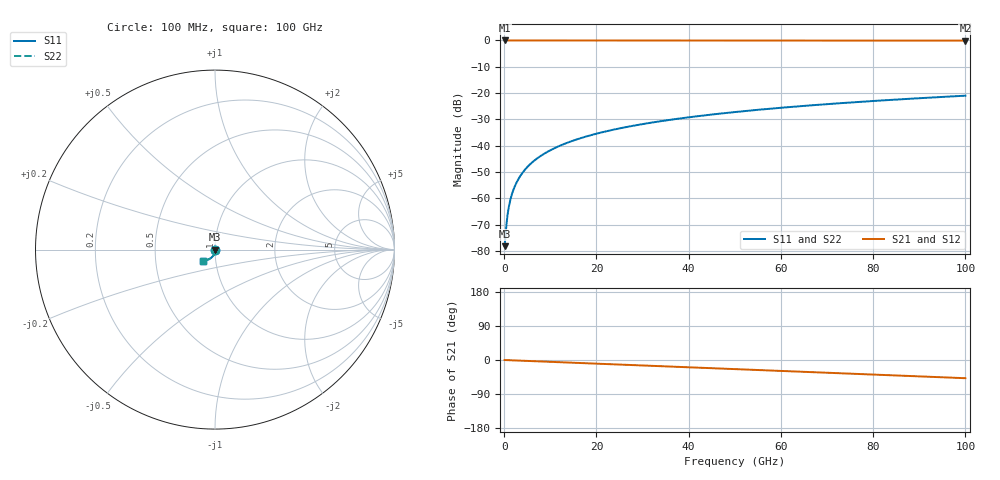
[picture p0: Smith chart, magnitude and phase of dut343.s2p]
! Touchstone file exported from HFSS 2026.1.0
!  File:  C:/ffzhzh/LocalFiles/Ansys_Project_Files/temp_train_TSV_343_1783509898_9504.aedt
!  Generated:  07:26:09 PM Jul  8, 2026
!  Design:  TSV
!  Project:  temp_train_TSV_343_1783509898_9504
! Variables:
!  h_bsmrdl = 2um
!  h_ox = 20um
!  h_rdl = 5um
!  h_sub = 99.54um
!  h_tmrdl = 5um
!  h_tsv = 99.54um
!  h_via = 3um
!  l_bsmrdl = 300um
!  l_sub = 423.56um
!  l_tmrdl = 200um
!  m_sub = 200um
!  pitch = 43.11um
!  r_tsv = 11.78um
!  s_tmrdl = 10um
!  w_bsmrdl = 18um
!  w_sub = 500um
!  w_tmrdl = 12um
!  x_tsv_center1 = 206um
!  x_tsv_center2 = 524um
!  x_tsv_center3 = 736um
!  x_tsv_center4 = 1054um
!  x_tsv_center5 = 1266um
!  x_tsv_center6 = 1584um
# GHz S MA R 50.000000
! Terminal data exported
! Port[1] = TSV1_1_T1
! Port[2] = TSV1_1_T2
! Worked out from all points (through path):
!   1000 points, 100 MHz to 100 GHz, reference 50 ohm
!   highest |S21| = 0.00 dB at 100 MHz (marker M1); lowest = -0.1 dB at 100 GHz (marker M2)
!   group delay of S21, straight-line fit = 1.33 ps
!   lowest |S11| = -78.1 dB at 100 MHz (marker M3), VSWR 1.00, Z = 50 - j0.00326 ohm
!   |S11| at or under -10 dB: start of sweep to end of sweep
!   |S22| runs from -78.1 to -21.0 dB; largest |S21 - S12| = 3.6e-15
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0.1  0.0001238 -15.2  0.9999 -0.1  0.9999 -0.1  0.0001238 -15.2
! Gamma 0 0 0 0
! Port Impedance 50 0 50 0
0.4  0.000255 -42.6  0.9998 -0.2  0.9998 -0.2  0.000255 -42.6
0.8  0.0005296 -58.2  0.9997 -0.4  0.9997 -0.4  0.0005296 -58.2
1  0.0006783 -62.7  0.9997 -0.5  0.9997 -0.5  0.0006783 -62.7
1.3  0.0009059 -67.3  0.9996 -0.6  0.9996 -0.6  0.0009059 -67.3
1.6  0.001137 -70.5  0.9996 -0.8  0.9996 -0.8  0.001137 -70.5
2.1  0.001529 -73.9  0.9995 -1.0  0.9995 -1.0  0.001529 -73.9
2.6  0.001929 -76.2  0.9995 -1.3  0.9995 -1.3  0.001929 -76.2
3.3  0.002501 -78.5  0.9994 -1.6  0.9994 -1.6  0.002501 -78.5
4.1  0.003166 -80.4  0.9994 -2.0  0.9994 -2.0  0.003166 -80.4
5.1  0.004007 -82.3  0.9993 -2.5  0.9993 -2.5  0.004007 -82.3
6.2  0.004939 -83.9  0.9992 -3.0  0.9992 -3.0  0.004939 -83.9
9  0.007335 -87.0  0.999 -4.3  0.999 -4.3  0.007335 -87.0
12.5  0.01037 -89.8  0.9988 -6.0  0.9988 -6.0  0.01037 -89.8
16.8  0.01413 -92.8  0.9986 -8.1  0.9986 -8.1  0.01413 -92.8
24.1  0.02055 -97.2  0.9982 -11.6  0.9982 -11.6  0.02055 -97.2
33.4  0.0288 -102.4  0.9977 -16.0  0.9977 -16.0  0.0288 -102.4
41.2  0.03576 -106.5  0.9973 -19.8  0.9973 -19.8  0.03576 -106.5
50.1  0.04374 -111.2  0.9967 -24.0  0.9967 -24.0  0.04374 -111.2
66.7  0.05871 -119.6  0.9955 -32.0  0.9955 -32.0  0.05872 -119.6
83.4  0.07394 -128.0  0.9941 -40.0  0.9941 -40.0  0.07394 -128.0
100  0.08927 -136.4  0.9923 -48.0  0.9923 -48.0  0.08927 -136.3
